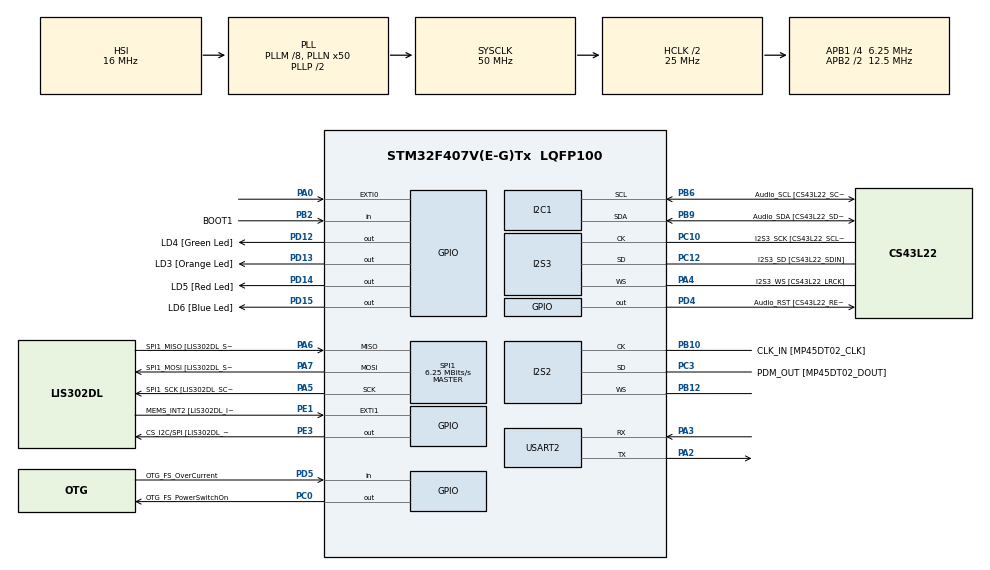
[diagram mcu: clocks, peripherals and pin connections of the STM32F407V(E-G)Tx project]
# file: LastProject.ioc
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I2S2.AudioFreq=I2S_AUDIOFREQ_192K
I2S2.ErrorAudioFreq=1.72 %
I2S2.Mode=I2S_MODE_MASTER_RX
I2S2.RealAudioFreq=195.312 KHz
I2S3.AudioFreq=I2S_AUDIOFREQ_16K
I2S3.ErrorAudioFreq=-0.35 %
I2S3.RealAudioFreq=15.943 KHz
Mcu.Family=STM32F4
Mcu.Name=STM32F407V(E-G)Tx
Mcu.Package=LQFP100
NVIC.EXTI0_IRQn=true\:0\:0\:false\:false\:true
NVIC.I2C1_ER_IRQn=true\:0\:0\:false\:false\:true
NVIC.I2C1_EV_IRQn=true\:0\:0\:false\:false\:true
NVIC.PriorityGroup=NVIC_PRIORITYGROUP_0
NVIC.SPI3_IRQn=true\:0\:0\:false\:false\:true
NVIC.TIM1_BRK_TIM9_IRQn=true\:0\:0\:false\:false\:true
NVIC.TIM1_CC_IRQn=true\:0\:0\:false\:false\:true
NVIC.TIM1_TRG_COM_TIM11_IRQn=true\:0\:0\:false\:false\:true
NVIC.TIM1_UP_TIM10_IRQn=true\:0\:0\:false\:false\:true
PA0-WKUP.Signal=GPXTI0
PA10.GPIO_Label=OTG_FS_ID
PA10.GPIO_Mode=GPIO_MODE_AF_PP
PA10.GPIO_PuPd=GPIO_NOPULL
PA10.GPIO_Speed=GPIO_SPEED_FREQ_LOW
PA10.Signal=USB_OTG_FS_ID
PA11.GPIO_Label=OTG_FS_DM
PA11.GPIO_Mode=GPIO_MODE_AF_PP
PA11.GPIO_PuPd=GPIO_NOPULL
PA11.GPIO_Speed=GPIO_SPEED_FREQ_LOW
PA11.Signal=USB_OTG_FS_DM
PA12.GPIO_Label=OTG_FS_DP
PA12.GPIO_Mode=GPIO_MODE_AF_PP
PA12.GPIO_PuPd=GPIO_NOPULL
PA12.GPIO_Speed=GPIO_SPEED_FREQ_LOW
PA12.Signal=USB_OTG_FS_DP
PA13.GPIO_Label=SWDIO
PA13.Signal=SYS_JTMS-SWDIO
PA14.GPIO_Label=SWCLK
PA14.Signal=SYS_JTCK-SWCLK
PA2.Mode=Asynchronous
PA2.Signal=USART2_TX
PA3.Mode=Asynchronous
PA3.Signal=USART2_RX
PA4.GPIO_Label=I2S3_WS [CS43L22_LRCK]
PA4.GPIO_Mode=GPIO_MODE_AF_PP
PA4.GPIO_PuPd=GPIO_NOPULL
PA4.GPIO_Speed=GPIO_SPEED_FREQ_LOW
PA4.Mode=Half_Duplex_Master
PA4.Signal=I2S3_WS
PA5.GPIO_Label=SPI1_SCK [LIS302DL_SCL/SPC]
PA5.GPIO_Mode=GPIO_MODE_AF_PP
PA5.GPIO_PuPd=GPIO_NOPULL
PA5.GPIO_Speed=GPIO_SPEED_FREQ_LOW
PA5.Mode=Full_Duplex_Master
PA5.Signal=SPI1_SCK
PA6.GPIO_Label=SPI1_MISO [LIS302DL_SDO]
PA6.GPIO_Mode=GPIO_MODE_AF_PP
PA6.GPIO_PuPd=GPIO_NOPULL
PA6.GPIO_Speed=GPIO_SPEED_FREQ_LOW
PA6.Mode=Full_Duplex_Master
PA6.Signal=SPI1_MISO
PA7.GPIO_Label=SPI1_MOSI [LIS302DL_SDA/SDI/SDO]
PA7.GPIO_Mode=GPIO_MODE_AF_PP
PA7.GPIO_PuPd=GPIO_NOPULL
PA7.GPIO_Speed=GPIO_SPEED_FREQ_LOW
PA7.Mode=Full_Duplex_Master
PA7.Signal=SPI1_MOSI
PA9.GPIO_Label=VBUS_FS
PA9.GPIO_Mode=GPIO_MODE_INPUT
PA9.GPIO_PuPd=GPIO_NOPULL
PA9.Signal=USB_OTG_FS_VBUS
PB10.GPIO_Label=CLK_IN [MP45DT02_CLK]
PB10.GPIO_Mode=GPIO_MODE_AF_PP
PB10.GPIO_PuPd=GPIO_NOPULL
PB10.GPIO_Speed=GPIO_SPEED_FREQ_LOW
PB10.Mode=Half_Duplex_Master
PB10.Signal=I2S2_CK
PB12.Mode=Half_Duplex_Master
PB12.Signal=I2S2_WS
PB2.GPIO_Label=BOOT1
PB2.GPIO_Mode=GPIO_MODE_INPUT
PB2.GPIO_PuPd=GPIO_NOPULL
PB2.Signal=GPIO_Input
PB3.GPIO_Label=SWO
PB3.Signal=SYS_JTDO-SWO
PB6.GPIO_Label=Audio_SCL [CS43L22_SCL]
PB6.GPIO_Mode=GPIO_MODE_AF_OD
PB6.GPIO_PuPd=GPIO_NOPULL
PB6.GPIO_Speed=GPIO_SPEED_FREQ_LOW
PB6.Mode=I2C
PB6.Signal=I2C1_SCL
PB9.GPIO_Label=Audio_SDA [CS43L22_SDA]
PB9.GPIO_Mode=GPIO_MODE_AF_OD
PB9.GPIO_PuPd=GPIO_NOPULL
PB9.GPIO_Speed=GPIO_SPEED_FREQ_LOW
PB9.Mode=I2C
PB9.Signal=I2C1_SDA
PC0.GPIO_Label=OTG_FS_PowerSwitchOn
PC0.GPIO_PuPd=GPIO_NOPULL
PC0.GPIO_Speed=GPIO_SPEED_FREQ_LOW
PC0.PinState=GPIO_PIN_SET
PC0.Signal=GPIO_Output
PC10.GPIO_Label=I2S3_SCK [CS43L22_SCLK]
PC10.GPIO_Mode=GPIO_MODE_AF_PP
PC10.GPIO_PuPd=GPIO_NOPULL
PC10.GPIO_Speed=GPIO_SPEED_FREQ_LOW
PC10.Mode=Half_Duplex_Master
PC10.Signal=I2S3_CK
PC12.GPIO_Label=I2S3_SD [CS43L22_SDIN]
PC12.GPIO_Mode=GPIO_MODE_AF_PP
PC12.GPIO_PuPd=GPIO_NOPULL
PC12.GPIO_Speed=GPIO_SPEED_FREQ_LOW
PC12.Mode=Half_Duplex_Master
PC12.Signal=I2S3_SD
PC14-OSC32_IN.GPIO_Label=PC14-OSC32_IN
PC14-OSC32_IN.Signal=RCC_OSC32_IN
PC15-OSC32_OUT.GPIO_Label=PC15-OSC32_OUT
PC15-OSC32_OUT.Signal=RCC_OSC32_OUT
PC3.GPIO_Label=PDM_OUT [MP45DT02_DOUT]
PC3.GPIO_Mode=GPIO_MODE_AF_PP
PC3.GPIO_PuPd=GPIO_NOPULL
PC3.GPIO_Speed=GPIO_SPEED_FREQ_LOW
PC3.Mode=Half_Duplex_Master
PC3.Signal=I2S2_SD
PC7.GPIO_Label=I2S3_MCK [CS43L22_MCLK]
PC7.GPIO_Mode=GPIO_MODE_AF_PP
PC7.GPIO_PuPd=GPIO_NOPULL
PC7.GPIO_Speed=GPIO_SPEED_FREQ_LOW
PC7.Signal=I2S3_MCK
PD12.GPIO_Label=LD4 [Green Led]
PD12.GPIO_PuPd=GPIO_NOPULL
PD12.GPIO_Speed=GPIO_SPEED_FREQ_LOW
PD12.Signal=GPIO_Output
PD13.GPIO_Label=LD3 [Orange Led]
PD13.GPIO_PuPd=GPIO_NOPULL
PD13.GPIO_Speed=GPIO_SPEED_FREQ_LOW
PD13.Signal=GPIO_Output
PD14.GPIO_Label=LD5 [Red Led]
PD14.GPIO_PuPd=GPIO_NOPULL
PD14.GPIO_Speed=GPIO_SPEED_FREQ_LOW
PD14.Signal=GPIO_Output
PD15.GPIO_Label=LD6 [Blue Led]
PD15.GPIO_PuPd=GPIO_NOPULL
PD15.GPIO_Speed=GPIO_SPEED_FREQ_LOW
PD15.Signal=GPIO_Output
PD4.GPIO_Label=Audio_RST [CS43L22_RESET]
PD4.GPIO_PuPd=GPIO_NOPULL
PD4.GPIO_Speed=GPIO_SPEED_FREQ_LOW
PD4.Signal=GPIO_Output
PD5.GPIO_Label=OTG_FS_OverCurrent
PD5.GPIO_Mode=GPIO_MODE_INPUT
PD5.GPIO_PuPd=GPIO_NOPULL
PD5.Signal=GPIO_Input
PE1.GPIO_Label=MEMS_INT2 [LIS302DL_INT2]
PE1.GPIO_ModeDefaultEXTI=GPIO_MODE_EVT_RISING
PE1.GPIO_PuPd=GPIO_NOPULL
PE1.Signal=GPXTI1
PE3.GPIO_Label=CS_I2C/SPI [LIS302DL_CS_I2C/SPI]
PE3.GPIO_PuPd=GPIO_NOPULL
PE3.GPIO_Speed=GPIO_SPEED_FREQ_LOW
PE3.Signal=GPIO_Output
PH0-OSC_IN.GPIO_Label=PH0-OSC_IN
PH0-OSC_IN.Signal=RCC_OSC_IN
PH1-OSC_OUT.GPIO_Label=PH1-OSC_OUT
PH1-OSC_OUT.Signal=RCC_OSC_OUT
ProjectManager.HeapSize=0x200
ProjectManager.StackSize=0x400
ProjectManager.TargetToolchain=SW4STM32
RCC.48MHZClocksFreq_Value=14285714.285714285
RCC.AHBCLKDivider=RCC_SYSCLK_DIV2
RCC.AHBFreq_Value=25000000
RCC.APB1CLKDivider=RCC_HCLK_DIV4
RCC.APB1Freq_Value=6250000
RCC.APB1TimFreq_Value=12500000
RCC.APB2CLKDivider=RCC_HCLK_DIV2
RCC.APB2Freq_Value=12500000
RCC.APB2TimFreq_Value=25000000
RCC.CortexFreq_Value=25000000
RCC.HCLKFreq_Value=25000000
RCC.HSE_VALUE=8000000
RCC.HSI_VALUE=16000000
RCC.LSE_VALUE=32768
RCC.PLLI2SN=50
RCC.PLLM=8
RCC.PLLN=50
RCC.PLLQ=7
RCC.SYSCLKFreq_VALUE=50000000
RCC.SYSCLKSource=RCC_SYSCLKSOURCE_PLLCLK
RCC.VCOOutputFreq_Value=100000000
SPI1.CalculateBaudRate=6.25 MBits/s
SPI1.Mode=SPI_MODE_MASTER
TIM1.Period=99
TIM1.Prescaler=1680
VP_TIM1_VS_ClockSourceINT.Mode=Internal
board=STM32F407G-DISC1

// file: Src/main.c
/**
  ******************************************************************************
  * File Name          : main.c
  * Description        : Main program body
  ******************************************************************************
  *
  * COPYRIGHT(c) 2016 STMicroelectronics
  *
  * Redistribution and use in source and binary forms, with or without modification,
  * are permitted provided that the following conditions are met:
  *   1. Redistributions of source code must retain the above copyright notice,
  *      this list of conditions and the following disclaimer.
  *   2. Redistributions in binary form must reproduce the above copyright notice,
  *      this list of conditions and the following disclaimer in the documentation
  *      and/or other materials provided with the distribution.
  *   3. Neither the name of STMicroelectronics nor the names of its contributors
  *      may be used to endorse or promote products derived from this software
  *      without specific prior written permission.
  *
  * THIS SOFTWARE IS PROVIDED BY THE COPYRIGHT HOLDERS AND CONTRIBUTORS "AS IS"
  * AND ANY EXPRESS OR IMPLIED WARRANTIES, INCLUDING, BUT NOT LIMITED TO, THE
  * IMPLIED WARRANTIES OF MERCHANTABILITY AND FITNESS FOR A PARTICULAR PURPOSE ARE
  * DISCLAIMED. IN NO EVENT SHALL THE COPYRIGHT HOLDER OR CONTRIBUTORS BE LIABLE
  * FOR ANY DIRECT, INDIRECT, INCIDENTAL, SPECIAL, EXEMPLARY, OR CONSEQUENTIAL
  * DAMAGES (INCLUDING, BUT NOT LIMITED TO, PROCUREMENT OF SUBSTITUTE GOODS OR
  * SERVICES; LOSS OF USE, DATA, OR PROFITS; OR BUSINESS INTERRUPTION) HOWEVER
  * CAUSED AND ON ANY THEORY OF LIABILITY, WHETHER IN CONTRACT, STRICT LIABILITY,
  * OR TORT (INCLUDING NEGLIGENCE OR OTHERWISE) ARISING IN ANY WAY OUT OF THE USE
  * OF THIS SOFTWARE, EVEN IF ADVISED OF THE POSSIBILITY OF SUCH DAMAGE.
  *
  ******************************************************************************
  */
#include "main.h"
#include "stm32f4xx_hal.h"

I2C_HandleTypeDef hi2c1;

I2S_HandleTypeDef hi2s2;
I2S_HandleTypeDef hi2s3;

SPI_HandleTypeDef hspi1;

TIM_HandleTypeDef htim1;

UART_HandleTypeDef huart2;

/* USER CODE BEGIN PV */
/* Private variables ---------------------------------------------------------*/

// security's variables
int isLock = 0; // check system is protected
int isHack = 0; // check system is hacked
int unLock = 0; // check unlocking
int togPin = 0; // toggle LED when unlock the system
//-----------------------------------

// Audio's variables
uint8_t initV[2];
uint16_t Istr[100];
uint8_t note[] = {0x92,0xD2,0x82,0xA2,0xC2};
//-----------------------------------

/* USER CODE END PV */

void SystemClock_Config(void);
void Error_Handler(void);
static void MX_GPIO_Init(void);
static void MX_I2C1_Init(void);
static void MX_I2S2_Init(void);
static void MX_I2S3_Init(void);
static void MX_SPI1_Init(void);
static void MX_TIM1_Init(void);
static void MX_USART2_UART_Init(void);

/* USER CODE BEGIN PFP */
/* Private function prototypes -----------------------------------------------*/
// Interrupt function for push button
void HAL_GPIO_EXTI_Callback(uint16_t GPIO_Pin){
	isLock=1;
	togPin=0;
}
//-----------------------------------

/* USER CODE END PFP */

/* USER CODE BEGIN 0 */

// Microphone's function and variables
float float_abs(float in){
	return in < 0 ? -in : in;
}

#define PDM_BUFFER_SIZE 200
#define PCM_BUFFER_SIZE 20
#define LEAKY_KEEP_RATE 0.95
#define UART_DEBUG_TICK_RATE 100
#define PDM_BLOCK_SIZE_BITS 8
//-----------------------------------

/* USER CODE END 0 */

int main(void)
{

  /* USER CODE BEGIN 1 */
	// Microphone's function and variables
	uint8_t i;
  	uint16_t pdm_buffer[PDM_BUFFER_SIZE]; // Buffer for pdm value from hi2s2 (Mic)
	uint16_t pdm_value = 0;				// For keeping pcm value calculated from pdm_value
	int8_t pcm_value = 0;				// value range is 0-16, 8-bit is chosen because it can store 0-255
	 int pcm_count = 0 ;
	char uart_temp_display_buffer[100];

	float leaky_pcm_buffer = 0.0;			// Fast Estimation of moving average of PDM
	float leaky_amp_buffer = 0.0; 		// Fast Estimation of moving average of abs(PCM)
	float max_amp = 0;
	//-----------------------------------

  /* USER CODE END 1 */

  /* MCU Configuration----------------------------------------------------------*/

  /* Reset of all peripherals, Initializes the Flash interface and the Systick. */
  HAL_Init();

  /* Configure the system clock */
  SystemClock_Config();

  /* Initialize all configured peripherals */
  MX_GPIO_Init();
  MX_I2C1_Init();
  MX_I2S2_Init();
  MX_I2S3_Init();
  MX_SPI1_Init();
  MX_TIM1_Init();
  MX_USART2_UART_Init();
  InitSound(); // Init Audio
  /* USER CODE BEGIN 2 */

  // accelerometer's variables
  uint8_t addr;
  uint8_t data;
  uint8_t x,y,z = 0;
  //-----------------------------------

  // Initialize accelerometer
  //set CS = 0 start SPI
  HAL_GPIO_WritePin(GPIOE,GPIO_PIN_3,GPIO_PIN_RESET);

  addr = 0x20; // control register
  HAL_SPI_Transmit(&hspi1,&addr,1,50);

  data = 0x47; // active X Y Z and full scale is +-2.0g
  HAL_SPI_Transmit(&hspi1,&data,1,50);

  HAL_GPIO_WritePin(GPIOE,GPIO_PIN_3,GPIO_PIN_SET);
  //-----------------------------------

  /* USER CODE END 2 */

  /* Infinite loop */
  while (1)
  {

  /* USER CODE BEGIN 3 */
	  //start accelerometer
	  HAL_GPIO_WritePin(GPIOE, GPIO_PIN_3, GPIO_PIN_RESET);

	  // OUT_X
	  addr = 0x29 | 0x80;
	  HAL_SPI_Transmit(&hspi1,&addr,1,50);
	  HAL_SPI_Receive(&hspi1,&x,1,50);

	  // OUT_Y
	  addr = 0x2B | 0x80;
	  HAL_SPI_Transmit(&hspi1,&addr,1,50);
	  HAL_SPI_Receive(&hspi1,&y,1,50);

	  // OUT_Z
	  addr = 0x2D | 0x80;
	  HAL_SPI_Transmit(&hspi1,&addr,1,50);
	  HAL_SPI_Receive(&hspi1,&z,1,50);
	  //-----------------------------------

	  //-127 to 127
	  if(isHack==1){ // if system is hacked
		  // LED and sound alert
		  WriteAllLed(GPIO_PIN_SET);
		  PlaySound(0);
		  HAL_Delay(10);
		  WriteAllLed(GPIO_PIN_RESET);
		  PlaySound(1);
		  HAL_Delay(100);
	  }
  	  else{ // if system is not hacked
  		  if(isLock==1){ // if system is protected

  			  // Initialize Microphone for unlocking.
  			  HAL_I2S_Receive(&hi2s2,pdm_buffer,PDM_BUFFER_SIZE,1000); // Receive PDM from Mic

  			  // Unlocking
		  	  if(unLock >=8) {
		  		  isLock = 0;
		  		  unLock = 0;
		  		  PlayUnlock();
		  	  }

		  	  //Calculating voice
		  	  for(i=0;i<PDM_BUFFER_SIZE;i++){
		  		  pcm_value = -PDM_BLOCK_SIZE_BITS/2;
		 		  pdm_value = pdm_buffer[i];
		 		  //calculate PCM value
		 		  while(pdm_value!=0){
		 			  pcm_value++;
		 			  pdm_value ^= pdm_value & -pdm_value;
		 		  }
		 		  leaky_pcm_buffer += pcm_value;
		 		  leaky_pcm_buffer *= LEAKY_KEEP_RATE;
		 		  leaky_amp_buffer += float_abs(leaky_pcm_buffer);
		 		  leaky_amp_buffer *= LEAKY_KEEP_RATE;
		 	  }
		  	  if(max_amp<leaky_amp_buffer) max_amp = leaky_amp_buffer;
		  	  pcm_count++;

		  	  if(PCM_BUFFER_SIZE==pcm_count){
		  		  if(max_amp > 2000){
		  			  unLock++;
		  		  }
		  		  else{
		  			  if(unLock-1<0) unLock = 0;
		  			  else unLock--;
		  		  }
		 		  max_amp = 0;
		 		  pcm_count=0;
		 		  HAL_GPIO_TogglePin(GPIOD, 1<<(12+togPin));
		 		  togPin=(togPin+1)%4;
		  	  }
		 	  // if board moves, that means system is hacked.
		 	  if (z <= -30 || z>= 85 || (y>10&&y<60) || (x<246&&x>200) || (x>10&&x<60) || (y<246&&y>200)){
		 		  isHack=1;
		 		  WriteAllLed(GPIO_PIN_SET);
		 		  HAL_Delay(100);
		 		  WriteAllLed(GPIO_PIN_RESET);
		 		  HAL_Delay(10);
		 	  }
  		  }
  		  else{ // if system is not protected
  			  if (z <= -30 || z>= 85) {
  				  WriteAllLed(GPIO_PIN_SET);
  				  HAL_Delay(500);
  				  WriteAllLed(GPIO_PIN_RESET);
  				  HAL_Delay(10);}

  			  // you can move the board
  			  else{
  				  if(y>10&&y<60)HAL_GPIO_WritePin(GPIOD,GPIO_PIN_13,GPIO_PIN_SET);
  				  else HAL_GPIO_WritePin(GPIOD,GPIO_PIN_13,GPIO_PIN_RESET);
  				  //left green
  				  if(x<246&&x>200)HAL_GPIO_WritePin(GPIOD,GPIO_PIN_12,GPIO_PIN_SET);
  				  else HAL_GPIO_WritePin(GPIOD,GPIO_PIN_12,GPIO_PIN_RESET);
  				  //right red
  				  if(x>10&&x<60)HAL_GPIO_WritePin(GPIOD,GPIO_PIN_14,GPIO_PIN_SET);
  				  else HAL_GPIO_WritePin(GPIOD,GPIO_PIN_14,GPIO_PIN_RESET);
  				  //down blue
  				  if(y<246&&y>200)HAL_GPIO_WritePin(GPIOD,GPIO_PIN_15,GPIO_PIN_SET);
  				  else HAL_GPIO_WritePin(GPIOD,GPIO_PIN_15,GPIO_PIN_RESET);
  			  }
  		  HAL_Delay(20);
  		  }
  	  }
	  HAL_GPIO_WritePin(GPIOE, GPIO_PIN_3, GPIO_PIN_SET);

	  // UART status of the system
	  if(isLock==1) {
		  HAL_UART_Transmit(&huart2,(uint8_t*)"\rSystem Status : Locked", 23, 100000);
	  }
	  else{
		  HAL_UART_Transmit(&huart2,(uint8_t*)"\rSystem Status : unLock", 23, 100000);
	  }
	  if(isHack==1) {
		  HAL_UART_Transmit(&huart2,(uint8_t*)"\rSystem Status : Hacked", 23, 100000);
	  }

  }
  /* USER CODE END 3 */

}

void WriteAllLed(GPIO_PinState PinState){
	HAL_GPIO_WritePin(GPIOD, GPIO_PIN_12, PinState);
	HAL_GPIO_WritePin(GPIOD, GPIO_PIN_13, PinState);
	HAL_GPIO_WritePin(GPIOD, GPIO_PIN_14, PinState);
	HAL_GPIO_WritePin(GPIOD, GPIO_PIN_15, PinState);
}
void PlayUnlock(){
	HAL_Delay(500);
	PlaySound(2);
	HAL_Delay(20);
	PlaySound(3);
	HAL_Delay(20);
	PlaySound(4);
}

void PlaySound(int r){

	if(r < 0 || r > 4) {
		HAL_Delay(25);
		return;
	}
	// Off
	initV[0] = 0x1E;
	initV[1] = 0x20;
	HAL_I2C_Master_Transmit(&hi2c1, 0x94, initV, 2, 50);

	// Change note
	initV[0] = 0x1C;
	initV[1] = note[r];
	HAL_I2C_Master_Transmit (&hi2c1, 0x94, initV, 2, 50);

	// On
	initV[0] = 0x1E;
	initV[1] = 0xE0;
	HAL_I2C_Master_Transmit(&hi2c1, 0x94, initV, 2, 50);

	int i;
	for(i=0;i<100;i++) HAL_I2S_Transmit (&hi2s3, Istr , 100, 10);
}

void InitSound(){

	  Istr[0] = 0;
	  //not sure if this is needed but i just put it here
	  if( HAL_I2S_Transmit (&hi2s3, Istr , 0x10, 10 ) != HAL_OK){
		  HAL_GPIO_WritePin(GPIOD, GPIO_PIN_12, 1);
	  }
	  HAL_GPIO_WritePin(GPIOD, GPIO_PIN_4, 0);  //Reset is set down
	  //confirmation LED
	  HAL_GPIO_WritePin(GPIOD, GPIO_PIN_13, 1);
	  HAL_Delay(500);
	  HAL_GPIO_WritePin(GPIOD, GPIO_PIN_13, 0);
	  //Initialization sequence for CS43L22:
	  HAL_GPIO_WritePin(GPIOD, GPIO_PIN_4, 1); //Reset is set Up (Power CS43L22)
	  HAL_GPIO_WritePin(GPIOD, GPIO_PIN_14, 1);
	  HAL_Delay(500);
	  HAL_GPIO_WritePin(GPIOD, GPIO_PIN_14, 0);

	  initV[0] = 0x00;
	  initV[1] = 0x99;
	  //check if transfer failed. If so: turn on Red LED
	  if(HAL_I2C_Master_Transmit(&hi2c1, 0x94, initV, 2, 50) != HAL_OK){
		  HAL_GPIO_WritePin(GPIOD, GPIO_PIN_13, 1);
	  }
	  initV[0] = 0x47;
	  initV[1] = 0x80;
	  if(HAL_I2C_Master_Transmit(&hi2c1, 0x94, initV, 2, 50) != HAL_OK){
		  HAL_GPIO_WritePin(GPIOD, GPIO_PIN_14, 1);
	  }
	  initV[0] = 0x32;
	  initV[1] = 0x80; // 0xBB or 0x80
	  if(HAL_I2C_Master_Transmit(&hi2c1, 0x94, initV, 2, 50) != HAL_OK){
		  HAL_GPIO_WritePin(GPIOD, GPIO_PIN_15, 1);
	  }
	  initV[0] = 0x32;
	  initV[1] = 0x00; // 0x3B or 0x00
	  if(HAL_I2C_Master_Transmit(&hi2c1, 0x94, initV, 2, 50) != HAL_OK){
		  HAL_GPIO_WritePin(GPIOD, GPIO_PIN_12, 1);
		  HAL_GPIO_WritePin(GPIOD, GPIO_PIN_13, 1);
	  }
	  initV[0] = 0x00;
	  initV[1] = 0x00;
	  if(HAL_I2C_Master_Transmit(&hi2c1, 0x94, initV, 2, 50) != HAL_OK){
		  HAL_GPIO_WritePin(GPIOD, GPIO_PIN_12, 1);
		  HAL_GPIO_WritePin(GPIOD, GPIO_PIN_14, 1);
	  }
	  initV[0] = 0x1E;
	  initV[1] = 0xC0;
	  if(HAL_I2C_Master_Transmit(&hi2c1, 0x94, initV, 2, 50) != HAL_OK){
		  HAL_GPIO_WritePin(GPIOD, GPIO_PIN_12, 1);
		  HAL_GPIO_WritePin(GPIOD, GPIO_PIN_15, 1);
	  }
	  initV[0] = 0x02;
	  initV[1] = 0x9E;
	  if( HAL_I2C_Master_Transmit(&hi2c1, 0x94, initV, 2, 50)!= HAL_OK){
		  HAL_GPIO_WritePin(GPIOD, GPIO_PIN_13, 1);
		  HAL_GPIO_WritePin(GPIOD, GPIO_PIN_14, 1);
	  }
}

/** System Clock Configuration
*/
void SystemClock_Config(void)
{

  RCC_OscInitTypeDef RCC_OscInitStruct;
  RCC_ClkInitTypeDef RCC_ClkInitStruct;
  RCC_PeriphCLKInitTypeDef PeriphClkInitStruct;

    /**Configure the main internal regulator output voltage
    */
  __HAL_RCC_PWR_CLK_ENABLE();

  __HAL_PWR_VOLTAGESCALING_CONFIG(PWR_REGULATOR_VOLTAGE_SCALE1);

    /**Initializes the CPU, AHB and APB busses clocks
    */
  RCC_OscInitStruct.OscillatorType = RCC_OSCILLATORTYPE_HSI;
  RCC_OscInitStruct.HSIState = RCC_HSI_ON;
  RCC_OscInitStruct.HSICalibrationValue = 16;
  RCC_OscInitStruct.PLL.PLLState = RCC_PLL_ON;
  RCC_OscInitStruct.PLL.PLLSource = RCC_PLLSOURCE_HSI;
  RCC_OscInitStruct.PLL.PLLM = 8;
  RCC_OscInitStruct.PLL.PLLN = 50;
  RCC_OscInitStruct.PLL.PLLP = RCC_PLLP_DIV2;
  RCC_OscInitStruct.PLL.PLLQ = 7;
  if (HAL_RCC_OscConfig(&RCC_OscInitStruct) != HAL_OK)
  {
    Error_Handler();
  }

    /**Initializes the CPU, AHB and APB busses clocks
    */
  RCC_ClkInitStruct.ClockType = RCC_CLOCKTYPE_HCLK|RCC_CLOCKTYPE_SYSCLK
                              |RCC_CLOCKTYPE_PCLK1|RCC_CLOCKTYPE_PCLK2;
  RCC_ClkInitStruct.SYSCLKSource = RCC_SYSCLKSOURCE_PLLCLK;
  RCC_ClkInitStruct.AHBCLKDivider = RCC_SYSCLK_DIV2;
  RCC_ClkInitStruct.APB1CLKDivider = RCC_HCLK_DIV4;
  RCC_ClkInitStruct.APB2CLKDivider = RCC_HCLK_DIV2;

  if (HAL_RCC_ClockConfig(&RCC_ClkInitStruct, FLASH_LATENCY_0) != HAL_OK)
  {
    Error_Handler();
  }

  PeriphClkInitStruct.PeriphClockSelection = RCC_PERIPHCLK_I2S;
  PeriphClkInitStruct.PLLI2S.PLLI2SN = 50;
  PeriphClkInitStruct.PLLI2S.PLLI2SR = 2;
  if (HAL_RCCEx_PeriphCLKConfig(&PeriphClkInitStruct) != HAL_OK)
  {
    Error_Handler();
  }

    /**Configure the Systick interrupt time
    */
  HAL_SYSTICK_Config(HAL_RCC_GetHCLKFreq()/1000);

    /**Configure the Systick
    */
  HAL_SYSTICK_CLKSourceConfig(SYSTICK_CLKSOURCE_HCLK);

  /* SysTick_IRQn interrupt configuration */
  HAL_NVIC_SetPriority(SysTick_IRQn, 0, 0);
}

/* I2C1 init function */
static void MX_I2C1_Init(void)
{

  hi2c1.Instance = I2C1;
  hi2c1.Init.ClockSpeed = 100000;
  hi2c1.Init.DutyCycle = I2C_DUTYCYCLE_2;
  hi2c1.Init.OwnAddress1 = 0;
  hi2c1.Init.AddressingMode = I2C_ADDRESSINGMODE_7BIT;
  hi2c1.Init.DualAddressMode = I2C_DUALADDRESS_DISABLE;
  hi2c1.Init.OwnAddress2 = 0;
  hi2c1.Init.GeneralCallMode = I2C_GENERALCALL_DISABLE;
  hi2c1.Init.NoStretchMode = I2C_NOSTRETCH_DISABLE;
  if (HAL_I2C_Init(&hi2c1) != HAL_OK)
  {
    Error_Handler();
  }

}

/* I2S2 init function */
static void MX_I2S2_Init(void)
{

  hi2s2.Instance = SPI2;
  hi2s2.Init.Mode = I2S_MODE_MASTER_RX;
  hi2s2.Init.Standard = I2S_STANDARD_PHILIPS;
  hi2s2.Init.DataFormat = I2S_DATAFORMAT_16B;
  hi2s2.Init.MCLKOutput = I2S_MCLKOUTPUT_DISABLE;
  hi2s2.Init.AudioFreq = I2S_AUDIOFREQ_192K;
  hi2s2.Init.CPOL = I2S_CPOL_LOW;
  hi2s2.Init.ClockSource = I2S_CLOCK_PLL;
  hi2s2.Init.FullDuplexMode = I2S_FULLDUPLEXMODE_DISABLE;
  if (HAL_I2S_Init(&hi2s2) != HAL_OK)
  {
    Error_Handler();
  }

}

/* I2S3 init function */
static void MX_I2S3_Init(void)
{

  hi2s3.Instance = SPI3;
  hi2s3.Init.Mode = I2S_MODE_MASTER_TX;
  hi2s3.Init.Standard = I2S_STANDARD_PHILIPS;
  hi2s3.Init.DataFormat = I2S_DATAFORMAT_16B;
  hi2s3.Init.MCLKOutput = I2S_MCLKOUTPUT_ENABLE;
  hi2s3.Init.AudioFreq = I2S_AUDIOFREQ_16K;
  hi2s3.Init.CPOL = I2S_CPOL_LOW;
  hi2s3.Init.ClockSource = I2S_CLOCK_PLL;
  hi2s3.Init.FullDuplexMode = I2S_FULLDUPLEXMODE_DISABLE;
  if (HAL_I2S_Init(&hi2s3) != HAL_OK)
  {
    Error_Handler();
  }

}

/* SPI1 init function */
static void MX_SPI1_Init(void)
{

  hspi1.Instance = SPI1;
  hspi1.Init.Mode = SPI_MODE_MASTER;
  hspi1.Init.Direction = SPI_DIRECTION_2LINES;
  hspi1.Init.DataSize = SPI_DATASIZE_8BIT;
  hspi1.Init.CLKPolarity = SPI_POLARITY_LOW;
  hspi1.Init.CLKPhase = SPI_PHASE_1EDGE;
  hspi1.Init.NSS = SPI_NSS_SOFT;
  hspi1.Init.BaudRatePrescaler = SPI_BAUDRATEPRESCALER_2;
  hspi1.Init.FirstBit = SPI_FIRSTBIT_MSB;
  hspi1.Init.TIMode = SPI_TIMODE_DISABLE;
  hspi1.Init.CRCCalculation = SPI_CRCCALCULATION_DISABLE;
  hspi1.Init.CRCPolynomial = 10;
  if (HAL_SPI_Init(&hspi1) != HAL_OK)
  {
    Error_Handler();
  }

}

/* TIM1 init function */
static void MX_TIM1_Init(void)
{

  TIM_ClockConfigTypeDef sClockSourceConfig;
  TIM_MasterConfigTypeDef sMasterConfig;

  htim1.Instance = TIM1;
  htim1.Init.Prescaler = 1680;
  htim1.Init.CounterMode = TIM_COUNTERMODE_UP;
  htim1.Init.Period = 99;
  htim1.Init.ClockDivision = TIM_CLOCKDIVISION_DIV1;
  htim1.Init.RepetitionCounter = 0;
  if (HAL_TIM_Base_Init(&htim1) != HAL_OK)
  {
    Error_Handler();
  }

  sClockSourceConfig.ClockSource = TIM_CLOCKSOURCE_INTERNAL;
  if (HAL_TIM_ConfigClockSource(&htim1, &sClockSourceConfig) != HAL_OK)
  {
    Error_Handler();
  }

  sMasterConfig.MasterOutputTrigger = TIM_TRGO_RESET;
  sMasterConfig.MasterSlaveMode = TIM_MASTERSLAVEMODE_DISABLE;
  if (HAL_TIMEx_MasterConfigSynchronization(&htim1, &sMasterConfig) != HAL_OK)
  {
    Error_Handler();
  }

}

/* USART2 init function */
static void MX_USART2_UART_Init(void)
{

  huart2.Instance = USART2;
  huart2.Init.BaudRate = 115200;
  huart2.Init.WordLength = UART_WORDLENGTH_8B;
  huart2.Init.StopBits = UART_STOPBITS_1;
  huart2.Init.Parity = UART_PARITY_NONE;
  huart2.Init.Mode = UART_MODE_TX_RX;
  huart2.Init.HwFlowCtl = UART_HWCONTROL_NONE;
  huart2.Init.OverSampling = UART_OVERSAMPLING_16;
  if (HAL_UART_Init(&huart2) != HAL_OK)
  {
    Error_Handler();
  }

}

/** Configure pins as
        * Analog
        * Input
        * Output
        * EVENT_OUT
        * EXTI
     PA9   ------> USB_OTG_FS_VBUS
     PA10   ------> USB_OTG_FS_ID
     PA11   ------> USB_OTG_FS_DM
     PA12   ------> USB_OTG_FS_DP
*/
static void MX_GPIO_Init(void)
{

  GPIO_InitTypeDef GPIO_InitStruct;

  /* GPIO Ports Clock Enable */
  __HAL_RCC_GPIOE_CLK_ENABLE();
  __HAL_RCC_GPIOC_CLK_ENABLE();
  __HAL_RCC_GPIOH_CLK_ENABLE();
  __HAL_RCC_GPIOA_CLK_ENABLE();
  __HAL_RCC_GPIOB_CLK_ENABLE();
  __HAL_RCC_GPIOD_CLK_ENABLE();

  /*Configure GPIO pin Output Level */
  HAL_GPIO_WritePin(CS_I2C_SPI_GPIO_Port, CS_I2C_SPI_Pin, GPIO_PIN_RESET);

  /*Configure GPIO pin Output Level */
  HAL_GPIO_WritePin(OTG_FS_PowerSwitchOn_GPIO_Port, OTG_FS_PowerSwitchOn_Pin, GPIO_PIN_SET);

  /*Configure GPIO pin Output Level */
  HAL_GPIO_WritePin(GPIOD, LD4_Pin|LD3_Pin|LD5_Pin|LD6_Pin
                          |Audio_RST_Pin, GPIO_PIN_RESET);

  /*Configure GPIO pin : CS_I2C_SPI_Pin */
  GPIO_InitStruct.Pin = CS_I2C_SPI_Pin;
  GPIO_InitStruct.Mode = GPIO_MODE_OUTPUT_PP;
  GPIO_InitStruct.Pull = GPIO_NOPULL;
  GPIO_InitStruct.Speed = GPIO_SPEED_FREQ_LOW;
  HAL_GPIO_Init(CS_I2C_SPI_GPIO_Port, &GPIO_InitStruct);

  /*Configure GPIO pin : OTG_FS_PowerSwitchOn_Pin */
  GPIO_InitStruct.Pin = OTG_FS_PowerSwitchOn_Pin;
  GPIO_InitStruct.Mode = GPIO_MODE_OUTPUT_PP;
  GPIO_InitStruct.Pull = GPIO_NOPULL;
  GPIO_InitStruct.Speed = GPIO_SPEED_FREQ_LOW;
  HAL_GPIO_Init(OTG_FS_PowerSwitchOn_GPIO_Port, &GPIO_InitStruct);

  /*Configure GPIO pin : PA0 */
  GPIO_InitStruct.Pin = GPIO_PIN_0;
  GPIO_InitStruct.Mode = GPIO_MODE_IT_RISING;
  GPIO_InitStruct.Pull = GPIO_NOPULL;
  HAL_GPIO_Init(GPIOA, &GPIO_InitStruct);

  /*Configure GPIO pin : BOOT1_Pin */
  GPIO_InitStruct.Pin = BOOT1_Pin;
  GPIO_InitStruct.Mode = GPIO_MODE_INPUT;
  GPIO_InitStruct.Pull = GPIO_NOPULL;
  HAL_GPIO_Init(BOOT1_GPIO_Port, &GPIO_InitStruct);

  /*Configure GPIO pins : LD4_Pin LD3_Pin LD5_Pin LD6_Pin
                           Audio_RST_Pin */
  GPIO_InitStruct.Pin = LD4_Pin|LD3_Pin|LD5_Pin|LD6_Pin
                          |Audio_RST_Pin;
  GPIO_InitStruct.Mode = GPIO_MODE_OUTPUT_PP;
  GPIO_InitStruct.Pull = GPIO_NOPULL;
  GPIO_InitStruct.Speed = GPIO_SPEED_FREQ_LOW;
  HAL_GPIO_Init(GPIOD, &GPIO_InitStruct);

  /*Configure GPIO pin : VBUS_FS_Pin */
  GPIO_InitStruct.Pin = VBUS_FS_Pin;
  GPIO_InitStruct.Mode = GPIO_MODE_INPUT;
  GPIO_InitStruct.Pull = GPIO_NOPULL;
  HAL_GPIO_Init(VBUS_FS_GPIO_Port, &GPIO_InitStruct);

  /*Configure GPIO pins : OTG_FS_ID_Pin OTG_FS_DM_Pin OTG_FS_DP_Pin */
  GPIO_InitStruct.Pin = OTG_FS_ID_Pin|OTG_FS_DM_Pin|OTG_FS_DP_Pin;
  GPIO_InitStruct.Mode = GPIO_MODE_AF_PP;
  GPIO_InitStruct.Pull = GPIO_NOPULL;
  GPIO_InitStruct.Speed = GPIO_SPEED_FREQ_LOW;
  GPIO_InitStruct.Alternate = GPIO_AF10_OTG_FS;
  HAL_GPIO_Init(GPIOA, &GPIO_InitStruct);

  /*Configure GPIO pin : OTG_FS_OverCurrent_Pin */
  GPIO_InitStruct.Pin = OTG_FS_OverCurrent_Pin;
  GPIO_InitStruct.Mode = GPIO_MODE_INPUT;
  GPIO_InitStruct.Pull = GPIO_NOPULL;
  HAL_GPIO_Init(OTG_FS_OverCurrent_GPIO_Port, &GPIO_InitStruct);

  /*Configure GPIO pin : MEMS_INT2_Pin */
  GPIO_InitStruct.Pin = MEMS_INT2_Pin;
  GPIO_InitStruct.Mode = GPIO_MODE_EVT_RISING;
  GPIO_InitStruct.Pull = GPIO_NOPULL;
  HAL_GPIO_Init(MEMS_INT2_GPIO_Port, &GPIO_InitStruct);

  /* EXTI interrupt init*/
  HAL_NVIC_SetPriority(EXTI0_IRQn, 0, 0);
  HAL_NVIC_EnableIRQ(EXTI0_IRQn);

}

void Error_Handler(void)
{
  while(1)
  {
  }
}

/************************ (C) COPYRIGHT STMicroelectronics *****END OF FILE****/
